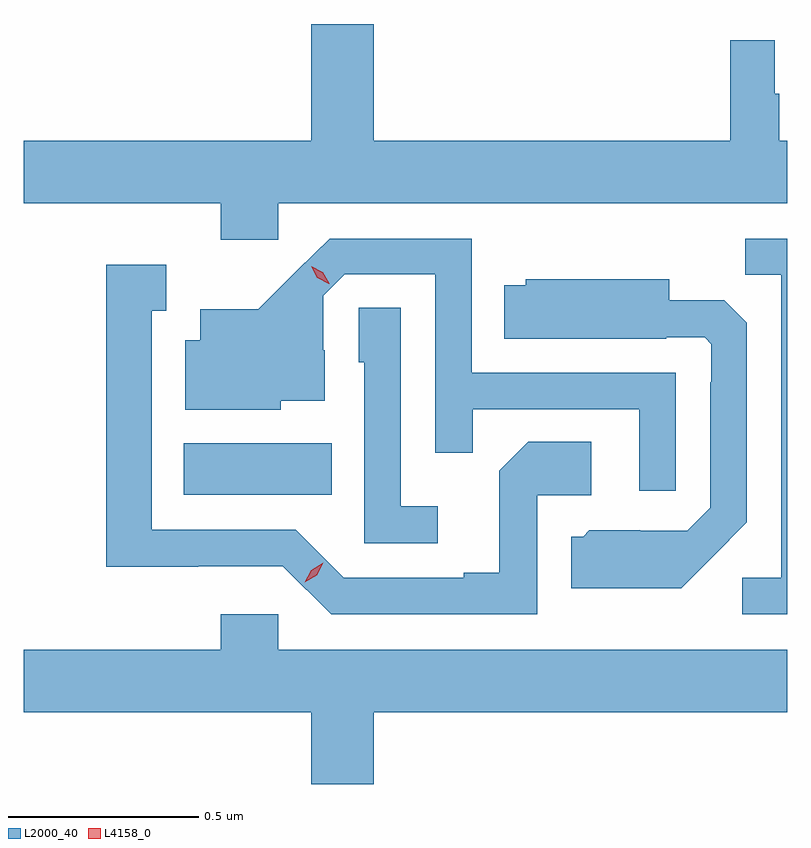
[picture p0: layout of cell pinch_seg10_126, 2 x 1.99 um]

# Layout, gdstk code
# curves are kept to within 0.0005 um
import gdstk
lib = gdstk.Library(unit=1e-6, precision=1e-09)
def R(c, l, rs):  # rectangles x0, y0, x1, y1
    for r in rs: c.add(gdstk.rectangle(r[:2], r[2:], *l))
def P(c, l, *ps):  # polygons
    for p in ps: c.add(gdstk.Polygon(p, *l))
L2000_40 = (2000, 40)
L4158_0 = (4158, 0)

pinch_seg10_126 = lib.new_cell('pinch_seg10_126')
R(pinch_seg10_126, L2000_40, [(716.123,1275.578,716.51,1275.712)])
P(pinch_seg10_126, L2000_40, [(716.37,1276.34),(717.703,1276.34),(717.703,1276.504),(717.682,1276.504),(717.682,1276.628),(717.67,1276.628),(717.67,1276.768),(717.553,1276.768),(717.553,1276.504),(716.62,1276.504),(716.62,1276.81),(716.456,1276.81),(716.456,1276.504),(715.703,1276.504),(715.703,1276.34),(716.219,1276.34),(716.219,1276.245),(716.37,1276.245)],
  [(717.703,1276.248),(717.592,1276.248),(717.592,1276.153),(717.687,1276.153),(717.687,1275.36),(717.585,1275.36),(717.585,1275.264),(717.703,1275.264)],
  [(717.411,1275.897),(716.877,1275.897),(716.877,1276.248),(716.504,1276.248),(716.317,1276.063),(716.165,1276.063),(716.165,1275.982),(716.126,1275.982),(716.126,1275.8),(716.376,1275.8),(716.376,1275.824),(716.491,1275.824),(716.491,1275.956),(716.487,1275.956),(716.487,1276.098),(716.544,1276.155),(716.781,1276.155),(716.781,1275.688),(716.879,1275.688),(716.879,1275.801),(717.315,1275.801),(717.315,1275.588),(717.411,1275.588)],
  [(717.048,1275.576),(717.19,1275.576),(717.19,1275.716),(717.025,1275.716),(716.949,1275.64),(716.949,1275.373),(716.855,1275.373),(716.855,1275.36),(716.541,1275.36),(716.415,1275.486),(716.038,1275.486),(716.038,1276.059),(716.077,1276.059),(716.077,1276.18),(715.92,1276.18),(715.92,1275.389),(716.16,1275.389),(716.16,1275.39),(716.382,1275.39),(716.508,1275.264),(717.048,1275.264)],
  [(717.505,1275.413),(717.597,1275.506),(717.597,1276.028),(717.538,1276.087),(717.394,1276.087),(717.394,1276.141),(717.018,1276.141),(717.018,1276.126),(716.962,1276.126),(716.962,1275.986),(717.386,1275.986),(717.386,1275.99),(717.486,1275.99),(717.504,1275.972),(717.504,1275.872),(717.501,1275.872),(717.501,1275.543),(717.441,1275.483),(717.318,1275.483),(717.318,1275.484),(717.184,1275.484),(717.168,1275.468),(717.137,1275.468),(717.137,1275.332),(717.425,1275.332)],
  [(716.788,1275.547),(716.691,1275.547),(716.691,1276.067),(716.58,1276.067),(716.58,1275.924),(716.595,1275.924),(716.595,1275.45),(716.788,1275.45)],
  [(716.62,1275.008),(717.703,1275.008),(717.703,1275.172),(716.37,1275.172),(716.37,1275.265),(716.219,1275.265),(716.219,1275.172),(715.703,1275.172),(715.703,1275.008),(716.456,1275.008),(716.456,1274.82),(716.62,1274.82)])
P(pinch_seg10_126, L4158_0, [(716.502,1276.13),(716.472,1276.146),(716.456,1276.176),(716.456,1276.176),(716.456,1276.176),(716.486,1276.16),(716.503,1276.131),(716.503,1276.13)],
  [(716.439,1275.348),(716.439,1275.348),(716.456,1275.38),(716.488,1275.399),(716.488,1275.399),(716.488,1275.399),(716.471,1275.366),(716.439,1275.348)])

lib.write_gds('pinch_seg10_126.gds')
